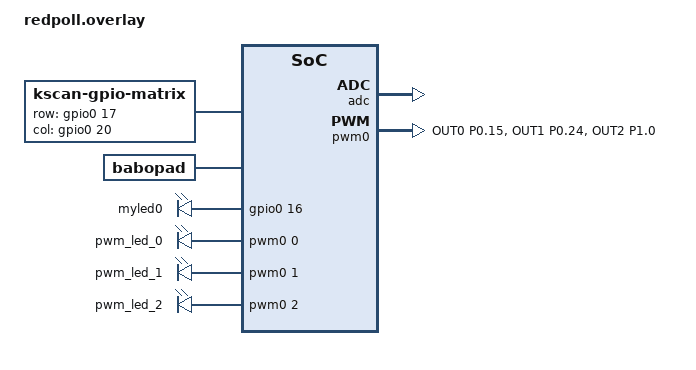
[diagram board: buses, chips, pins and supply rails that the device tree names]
#include <dt-bindings/zmk/matrix_transform.h>
#include <zephyr/dt-bindings/input/input-event-codes.h>

/ {
    chosen {
        zmk,kscan = &kscan0;
        zmk,matrix_transform = &layout_grid_transform;
    };

    aliases {
        adc0 = &adc;
        led0 = &myled0;
        pwm00 = &pwm_led_0;
        pwm01 = &pwm_led_1;
        pwm02 = &pwm_led_2;
    };
    
    kscan0: kscan {
        compatible = "zmk,kscan-gpio-matrix";
        label = "KSCAN";
                diode-direction = "col2row";
        row-gpios
            = <&gpio0 17 (GPIO_ACTIVE_HIGH | GPIO_PULL_DOWN)>;
        col-gpios
            = <&gpio0 20 GPIO_ACTIVE_HIGH>;
    };
    
    layout_grid_transform:
    keymap_transform_0  {
        compatible = "zmk,matrix-transform";
	columns = <1>;
	rows = <1>;
	map = <RC(0,0)>;
    };

    babopad: babopad_0 {
		compatible = "zmk,babopad"; 
        status = "okay";
        adc-channels = <0 5 7>;
        pwm-channels = <0 1 2>;
	dpi = <1000>;
	sampling-hz = <100>;
        evt-type = <INPUT_EV_REL>;
        input-code-x = <INPUT_REL_X>;
        input-code-y = <INPUT_REL_Y>;
    };

	babopad_listener {
    	compatible = "zmk,input-listener";
    	device = <&babopad>;
    };
    leds {
        compatible = "gpio-leds";
        myled0: led_0 {
            gpios = <&gpio0 16 GPIO_ACTIVE_HIGH>;        
        };
    };
};

&adc {
    status = "okay";
};

&pinctrl {
    pwm0_default: pwm0_default {
        group1 {
            psels = <NRF_PSEL(PWM_OUT0, 0, 15)>,
                <NRF_PSEL(PWM_OUT1, 0, 24)>,
                <NRF_PSEL(PWM_OUT2, 1, 0)>;
        };
    };
    pwm0_sleep: pwm0_sleep {
        group1 {
            psels = <NRF_PSEL(PWM_OUT0, 0, 15)>,
                <NRF_PSEL(PWM_OUT1, 0, 24)>,
                <NRF_PSEL(PWM_OUT2, 1, 0)>;
            low-power-enable;
        };
    };
};

&pwm0 {
    status = "okay";
    pinctrl-0 = <&pwm0_default>;
    pinctrl-1 = <&pwm0_sleep>;
    pinctrl-names = "default", "sleep";
};

&pwmleds {
    compatible = "pwm-leds";
    pwm_led_0: pwm_led_0 {
        pwms = <&pwm0 0 PWM_MSEC(10) PWM_POLARITY_NORMAL>;
    };
    pwm_led_1: pwm_led_1 {
        pwms = <&pwm0 1 PWM_MSEC(10) PWM_POLARITY_NORMAL>;
    };
    pwm_led_2: pwm_led_2 {
        pwms = <&pwm0 2 PWM_MSEC(10) PWM_POLARITY_NORMAL>;
    };
};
